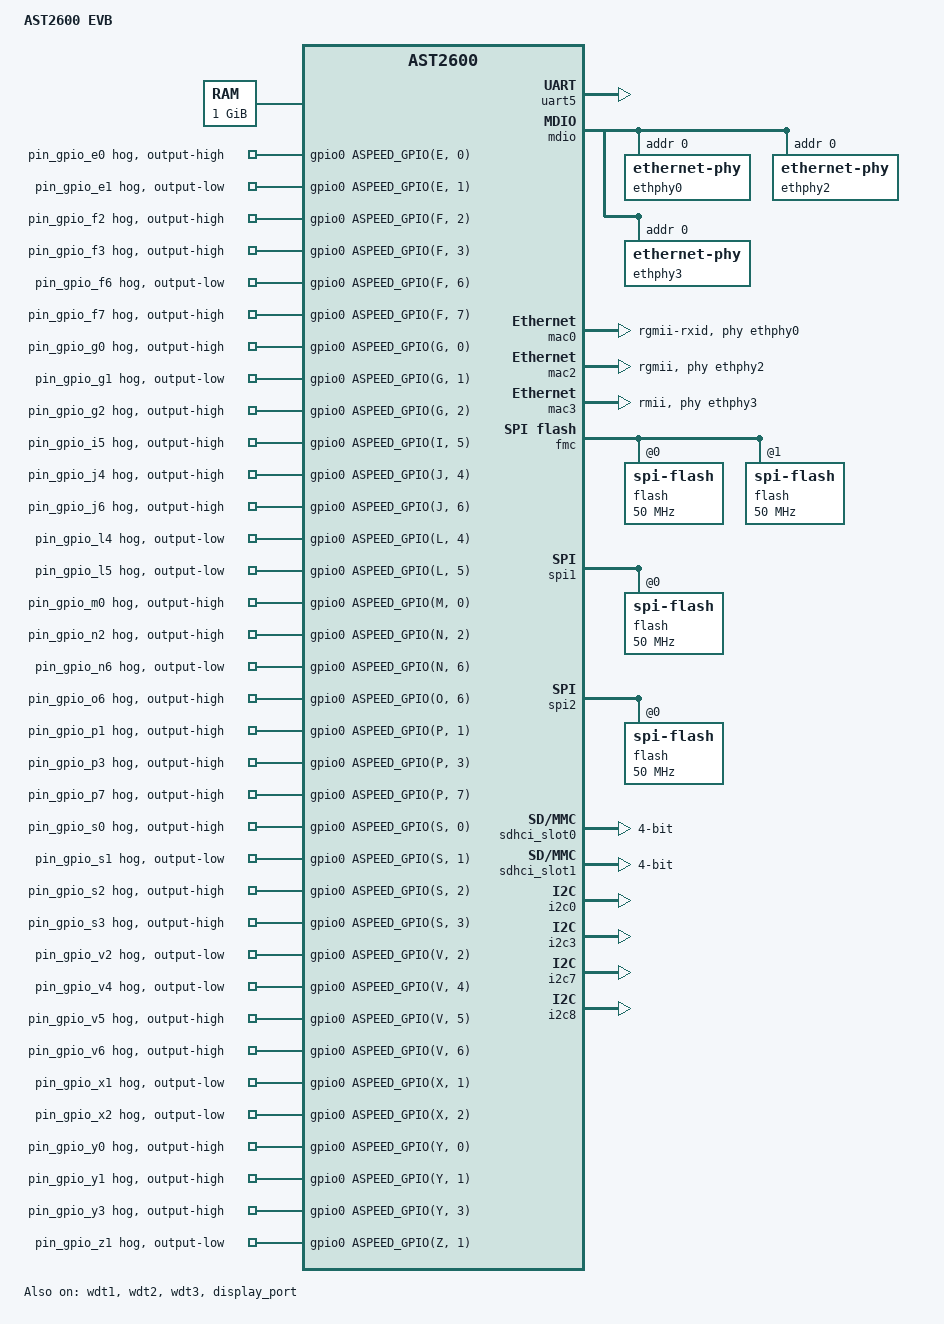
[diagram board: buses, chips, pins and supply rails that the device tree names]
/dts-v1/;

#include "ast2600-u-boot.dtsi"

/ {
        model = "AST2600 EVB";
        compatible = "aspeed,ast2600-evb", "aspeed,ast2600";

	memory {
		device_type = "memory";
		reg = <0x80000000 0x40000000>;
	};

	chosen {
		stdout-path = &uart5;
	};

	aliases {
		spi0 = &fmc;
		spi1 = &spi1;
		spi2 = &spi2;
		ethernet0 = &mac2; // MAC3, dedicated-NIC
		ethernet1 = &mac3; // MAC4, shared-NIC
		// ethernet0 = &mac0;
		// ethernet1 = &mac1;
		// ethernet2 = &mac2;
		// ethernet3 = &mac3;
	};

	cpus {
		cpu@0 {
			clock-frequency = <800000000>;
		};
		cpu@1 {
			clock-frequency = <800000000>;
		};
	};
};

&uart5 {
	u-boot,dm-pre-reloc;
	status = "okay";
};

&sdrammc {
	clock-frequency = <400000000>;
};

&wdt1 {
	status = "okay";
};

&wdt2 {
	status = "okay";
};

&wdt3 {
	status = "okay";
};

&mdio {
	status = "okay";
	pinctrl-names = "default";
	pinctrl-0 = <&pinctrl_mdio1_default &pinctrl_mdio3_default &pinctrl_mdio4_default>;

	// pinctrl-0 = <	&pinctrl_mdio1_default &pinctrl_mdio2_default
	// 		&pinctrl_mdio3_default &pinctrl_mdio4_default>;

	#address-cells = <1>;
	#size-cells = <0>;

	ethphy0: ethernet-phy@0 {
		reg = <0>;
	};

	// ethphy1: ethernet-phy@1 {
	// 	reg = <0>;
	// };

	ethphy2: ethernet-phy@2 {
		reg = <0>;
	};

	ethphy3: ethernet-phy@3 {
		reg = <0>;
	};
};

&mac0 {
	status = "okay";
	phy-mode = "rgmii-rxid";
	phy-handle = <&ethphy0>;
	pinctrl-names = "default";
	pinctrl-0 = <&pinctrl_rgmii1_default>;
};

// &mac1 {
// 	status = "okay";
// 	phy-mode = "rgmii-rxid";
// 	phy-handle = <&ethphy1>;
// 	pinctrl-names = "default";
// 	pinctrl-0 = <&pinctrl_rgmii2_default>;
// };

&mac2 {
	status = "okay";
	phy-mode = "rgmii";
	phy-handle = <&ethphy2>;
	pinctrl-names = "default";
	pinctrl-0 = <&pinctrl_rgmii3_default &pinctrl_mac3link_default>;	
};

&mac3 {
	status = "okay";
	phy-mode = "rmii";
	phy-handle = <&ethphy3>;
	pinctrl-names = "default";
	pinctrl-0 = <&pinctrl_rmii4_default>;
};

// &mac2 {
// 	status = "okay";
// 	phy-mode = "rgmii";
// 	phy-handle = <&ethphy2>;
// 	pinctrl-names = "default";
// 	pinctrl-0 = <&pinctrl_rgmii3_default &pinctrl_mac3link_default>;	
// };

// &mac3 {
// 	status = "okay";
// 	phy-mode = "rgmii";
// 	phy-handle = <&ethphy3>;
// 	pinctrl-names = "default";
// 	pinctrl-0 = <&pinctrl_rgmii4_default &pinctrl_mac4link_default>;	
// };

&fmc {
	status = "okay";

	pinctrl-names = "default";
	pinctrl-0 = <&pinctrl_fmcquad_default>;

	flash@0 {
		compatible = "spi-flash", "sst,w25q256";
		status = "okay";
		spi-max-frequency = <50000000>;
		spi-tx-bus-width = <4>;
		spi-rx-bus-width = <4>;
	};

	flash@1 {
                compatible = "spi-flash", "sst,w25q256";
                status = "okay";
                spi-max-frequency = <50000000>;
                spi-tx-bus-width = <4>;
                spi-rx-bus-width = <4>;
        };
};
&spi1 {
	status = "okay";

	pinctrl-names = "default";
	pinctrl-0 = <&pinctrl_spi1_default &pinctrl_spi1abr_default
			&pinctrl_spi1cs1_default &pinctrl_spi1wp_default
			&pinctrl_spi1wp_default &pinctrl_spi1quad_default>;

	flash@0 {
		compatible = "spi-flash", "sst,w25q256";
		status = "okay";
		spi-max-frequency = <50000000>;
		spi-tx-bus-width = <4>;
		spi-rx-bus-width = <4>;
	};

};

&spi2 {
	status = "okay";

	pinctrl-names = "default";
	pinctrl-0 = <&pinctrl_spi2_default &pinctrl_spi2cs1_default
			&pinctrl_spi2cs2_default &pinctrl_spi2quad_default>;

	flash@0 {
		compatible = "spi-flash", "sst,w25q256";
		status = "okay";
		spi-max-frequency = <50000000>;
		spi-tx-bus-width = <4>;
		spi-rx-bus-width = <4>;
	};

};
&emmc {
	u-boot,dm-pre-reloc;
    timing-phase = <0x700ff>;
};

&emmc_slot0 {
	u-boot,dm-pre-reloc;
    status = "disabled";	//not support boot from emmc
    bus-width = <4>;
    pinctrl-names = "default";
    pinctrl-0 = <&pinctrl_emmc_default>;
    sdhci-drive-type = <1>;
};

&sdhci {
    timing-phase = <0xc6ffff>;
};

&sdhci_slot0 {
    status = "okay";
    bus-width = <4>;
    pwr-gpios = <&gpio0 ASPEED_GPIO(V, 0) GPIO_ACTIVE_HIGH>;
    pwr-sw-gpios = <&gpio0 ASPEED_GPIO(V, 1) GPIO_ACTIVE_HIGH>;
    pinctrl-names = "default";
    pinctrl-0 = <&pinctrl_sd1_default>;
    sdhci-drive-type = <1>;
};

&sdhci_slot1 {
    status = "okay";
    bus-width = <4>;
    pwr-gpios = <&gpio0 ASPEED_GPIO(V, 2) GPIO_ACTIVE_HIGH>;
    pwr-sw-gpios = <&gpio0 ASPEED_GPIO(V, 3) GPIO_ACTIVE_HIGH>;
    pinctrl-names = "default";
    pinctrl-0 = <&pinctrl_sd2_default>;
    sdhci-drive-type = <1>;
};

&i2c0 {
        status = "okay";
	pinctrl-names = "default";
	pinctrl-0 = <&pinctrl_i2c1_default>;	
};

&i2c3 {
        status = "okay";
	pinctrl-names = "default";
	pinctrl-0 = <&pinctrl_i2c4_default>;
};

&i2c7 {
        status = "okay";
	pinctrl-names = "default";
	pinctrl-0 = <&pinctrl_i2c8_default>;
};

&i2c8 {
        status = "okay";
        pinctrl-names = "default";
        pinctrl-0 = <&pinctrl_i2c9_default>;
};

&display_port {
       status = "okay";
};

&scu {
	mac0-clk-delay = <0x10 0x0a
			  0x10 0x10
			  0x10 0x10>;
	// mac1-clk-delay = <0x10 0x0a
	// 		  0x10 0x10
	// 		  0x10 0x10>;
	mac2-clk-delay = <0x08 0x04
			  0x08 0x04
			  0x08 0x04>;
	mac3-clk-delay = <0x08 0x04
			  0x08 0x04
			  0x08 0x04>;
};

/* Init GPIO outout pin to default value in uboot stage.
   To avoid polarity confusing, use default polarity - Active High. */
&gpio0 {
	// FM_BACKUP_BIOS_SEL_N	
	pin_gpio_e0 {
		gpio-hog;
		gpios =  <ASPEED_GPIO(E, 0) GPIO_ACTIVE_HIGH>;
		output-high;
	};
	// FM_BIOS_BMC_CTRL
	pin_gpio_e1 {
		gpio-hog;
		gpios =  <ASPEED_GPIO(E, 1) GPIO_ACTIVE_HIGH>;
		output-low;
	};
	// FM_SRST_REQ2_N
	pin_gpio_f2 {
		gpio-hog;
		gpios =  <ASPEED_GPIO(F, 2) GPIO_ACTIVE_HIGH>;
		output-high;
	};
	// FM_BMC_RESET_DET_N
	pin_gpio_f3 {
		gpio-hog;
		gpios =  <ASPEED_GPIO(F, 3) GPIO_ACTIVE_HIGH>;
		output-high;
	};
	// BMC_CPLD_JTAG_MUX_SEL
	pin_gpio_f6 {
		gpio-hog;
		gpios =  <ASPEED_GPIO(F, 6) GPIO_ACTIVE_HIGH>;
		output-low;
	};
	// FM_PWRBRK_BMC_N
	pin_gpio_f7 {
		gpio-hog;
		gpios =  <ASPEED_GPIO(F, 7) GPIO_ACTIVE_HIGH>;
		output-high;
	};
	// BMC_OCP1_SMRST_L
	pin_gpio_g0 {
		gpio-hog;
		gpios =  <ASPEED_GPIO(G, 0) GPIO_ACTIVE_HIGH>;
		output-high;
	};
	// FM_DP_CONN_PWR_EN_CTL
	pin_gpio_g1 {
		gpio-hog;
		gpios =  <ASPEED_GPIO(G, 1) GPIO_ACTIVE_HIGH>;
		output-low;
	};
	// FP_ID_LED_N
	pin_gpio_g2 {
		gpio-hog;
		gpios =  <ASPEED_GPIO(G, 2) GPIO_ACTIVE_HIGH>;
		output-high;
	};
	// FP_ID_BTN_N
	pin_gpio_i5 {
		gpio-hog;
		gpios =  <ASPEED_GPIO(I, 5) GPIO_ACTIVE_HIGH>;
		output-high;
	};
	// P0_NMI_SYNC_FLOOD_L
	pin_gpio_j4 {
		gpio-hog;
		gpios =  <ASPEED_GPIO(J, 4) GPIO_ACTIVE_HIGH>;
		output-high;
	};
	// EMMC_RST_N
	pin_gpio_j6 {
		gpio-hog;
		gpios =  <ASPEED_GPIO(J, 6) GPIO_ACTIVE_HIGH>;
		output-high;
	};
	// P5V_AUX_RST_DLY
	pin_gpio_l4 {
		gpio-hog;
		gpios =  <ASPEED_GPIO(L, 4) GPIO_ACTIVE_HIGH>;
		output-low;
	};
	// P3V3_AUX_RST_DLY
	pin_gpio_l5 {
		gpio-hog;
		gpios =  <ASPEED_GPIO(L, 5) GPIO_ACTIVE_HIGH>;
		output-low;
	};
	// FM_BMC_ONCTL_N
	pin_gpio_m0 {
		gpio-hog;
		gpios =  <ASPEED_GPIO(M, 0) GPIO_ACTIVE_HIGH>;
		output-high;
	};
	// BMC_PLD_VR_ALERT_L
	pin_gpio_n2 {
		gpio-hog;
		gpios =  <ASPEED_GPIO(N, 2) GPIO_ACTIVE_HIGH>;
		output-high;
	};
	// FM_CEC_BIOS_RESET_IN
	pin_gpio_n6 {
		gpio-hog;
		gpios =  <ASPEED_GPIO(N, 6) GPIO_ACTIVE_HIGH>;
		output-low;
	};
	// FM_AUTH_COMPLETE_N
	pin_gpio_o6 {
		gpio-hog;
		gpios =  <ASPEED_GPIO(O, 6) GPIO_ACTIVE_HIGH>;
		output-high;
	};
	// FM_BMC_PWRBTN_OUT_N
	pin_gpio_p1 {
		gpio-hog;
		gpios =  <ASPEED_GPIO(P, 1) GPIO_ACTIVE_HIGH>;
		output-high;
	};
	// RST_SYSRST_BTN_OUT_N
	pin_gpio_p3 {
		gpio-hog;
		gpios =  <ASPEED_GPIO(P, 3) GPIO_ACTIVE_HIGH>;
		output-high;
	};
	// BMC_HW_HEARTBEAT_N
	pin_gpio_p7 {
		gpio-hog;
		gpios =  <ASPEED_GPIO(P, 7) GPIO_ACTIVE_HIGH>;
		output-high;
	};
	// RST_RGMII_PHYRST_N
	pin_gpio_s0 {
		gpio-hog;
		gpios =  <ASPEED_GPIO(S, 0) GPIO_ACTIVE_HIGH>;
		output-high;
	};
	// FM_BMC_PLD_RESERVED
	pin_gpio_s1 {
		gpio-hog;
		gpios =  <ASPEED_GPIO(S, 1) GPIO_ACTIVE_HIGH>;
		output-low;
	};
	// RST_RTCRST_N
	pin_gpio_s2 {
		gpio-hog;
		gpios =  <ASPEED_GPIO(S, 2) GPIO_ACTIVE_HIGH>;
		output-high;
	};
	// P0_HDT_SEL_0
	pin_gpio_s3 {
		gpio-hog;
		gpios =  <ASPEED_GPIO(S, 3) GPIO_ACTIVE_HIGH>;
		output-high;
	};
	// SPD_REMOTE_SEL
	pin_gpio_v2 {
		gpio-hog;
		gpios =  <ASPEED_GPIO(V, 2) GPIO_ACTIVE_HIGH>;
		output-low;
	};	
	// A_P3V_BAT_SCALED_EN
	pin_gpio_v4 {
		gpio-hog;
		gpios =  <ASPEED_GPIO(V, 4) GPIO_ACTIVE_HIGH>;
		output-low;
	};
	// BMC_HDT_DBREQ_L
	pin_gpio_v5 {
		gpio-hog;
		gpios =  <ASPEED_GPIO(V, 5) GPIO_ACTIVE_HIGH>;
		output-high;
	};
	// IRQ_SMB_ROT_ALRT_N
	pin_gpio_v6 {
		gpio-hog;
		gpios =  <ASPEED_GPIO(V, 6) GPIO_ACTIVE_HIGH>;
		output-high;
	};
	// BMC_SYS_STATUS_LED_CTRL_Y
	pin_gpio_x1 {
		gpio-hog;
		gpios =  <ASPEED_GPIO(X, 1) GPIO_ACTIVE_HIGH>;
		output-low;
	};
	// BMC_SYS_STATUS_LED_CTRL_G
	pin_gpio_x2 {
		gpio-hog;
		gpios =  <ASPEED_GPIO(X, 2) GPIO_ACTIVE_HIGH>;
		output-low;
	};
	// FM_SRST_REQ1_N
	pin_gpio_y0 {
		gpio-hog;
		gpios =  <ASPEED_GPIO(Y, 0) GPIO_ACTIVE_HIGH>;
		output-high;
	};
	// FM_ROT_WDRST2_N
	// Note: If enable the WDT2 in uboot, this func-pin will be WDT ext signal.
	//       Must remove this GPIO init setting
	pin_gpio_y1 {
		gpio-hog;
		gpios =  <ASPEED_GPIO(Y, 1) GPIO_ACTIVE_HIGH>;
		output-high;
	};
	// FM_BMC_EMMC_RST_N
	pin_gpio_y3 {
		gpio-hog;
		gpios =  <ASPEED_GPIO(Y, 3) GPIO_ACTIVE_HIGH>;
		output-high;
	};
	// BMC_SYS_STATUS_LED_CTRL_R
	pin_gpio_z1 {
		gpio-hog;
		gpios =  <ASPEED_GPIO(Z, 1) GPIO_ACTIVE_HIGH>;
		output-low;
	};
};

